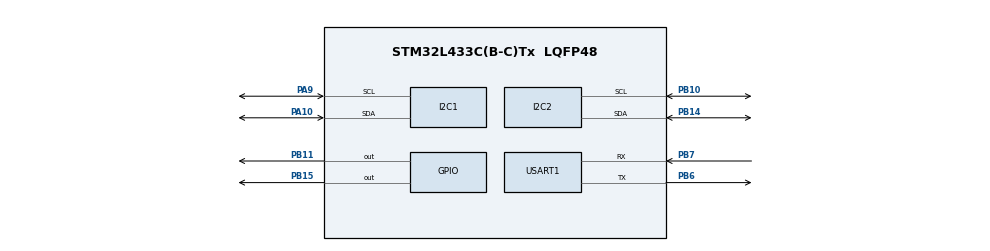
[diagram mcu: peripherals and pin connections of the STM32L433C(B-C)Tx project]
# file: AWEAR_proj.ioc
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Mcu.Family=STM32L4
Mcu.Name=STM32L433C(B-C)Tx
Mcu.Package=LQFP48
NVIC.LPTIM1_IRQn=true\:0\:0\:false\:false\:true\:true\:true\:true
NVIC.PriorityGroup=NVIC_PRIORITYGROUP_4
PA10.Mode=I2C
PA10.Signal=I2C1_SDA
PA9.Mode=I2C
PA9.Signal=I2C1_SCL
PB10.Mode=I2C
PB10.Signal=I2C2_SCL
PB11.GPIO_Speed=GPIO_SPEED_FREQ_LOW
PB11.Signal=GPIO_Output
PB14.Mode=I2C
PB14.Signal=I2C2_SDA
PB15.Signal=GPIO_Output
PB6.Mode=Asynchronous
PB6.Signal=USART1_TX
PB7.Mode=Asynchronous
PB7.Signal=USART1_RX
ProjectManager.HeapSize=0x200
ProjectManager.StackSize=0x400
ProjectManager.TargetToolchain=STM32CubeIDE
RCC.HSE_VALUE=8000000
RCC.HSI48_VALUE=48000000
RCC.HSI_VALUE=16000000
RCC.LPTIM1CLockSelection=RCC_LPTIM1CLKSOURCE_LSI
RCC.LSE_VALUE=32768
RCC.MSI_VALUE=4000000
RCC.VCOOutputFreq_Value=32000000
USART1.Parity=PARITY_ODD
USART1.VirtualMode-Asynchronous=VM_ASYNC
VP_LPTIM1_VS_LPTIM_counterModeInternalClock.Mode=Counts__internal_clock_event_00
board=custom

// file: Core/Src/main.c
/* USER CODE BEGIN Header */
/**
  ******************************************************************************
  * @file           : main.c
  * @brief          : Main program body
  ******************************************************************************
  * @attention
  *
  * Copyright (c) 2023 STMicroelectronics.
  * All rights reserved.
  *
  * This software is licensed under terms that can be found in the LICENSE file
  * in the root directory of this software component.
  * If no LICENSE file comes with this software, it is provided AS-IS.
  *
  ******************************************************************************
  */
/* USER CODE END Header */
#include "main.h"

/* USER CODE BEGIN Includes */
#include <BH1790GLC.h>
#include "lis2de12_reg.h"
//#include <ICM20948.h>
#include <stdio.h>			//not sure if this is necessary?
#include <math.h>

#define PERIOD (uint32_t)1048			//TO DO: CHECK THE TIMER VAL: I think this is 32 Hz?
#define TIMEOUT (uint32_t)0				//goes to compare register?

#define READY 1
#define BUSY 0

/* USER CODE END Includes */

I2C_HandleTypeDef hi2c1;
I2C_HandleTypeDef hi2c2;

LPTIM_HandleTypeDef hlptim1;

UART_HandleTypeDef huart1;

/* USER CODE BEGIN PV */

//imu stuff
#define SENSOR_BUS hi2c2
#define BOOT_TIME 5
#define FIFO_WATERMARK 10
static int16_t data_raw_acceleration[3];
static float acceleration_mg[3];
static uint8_t tx_buffer[1000];
static uint8_t whoamI;
//

BH1790GLC 	hrm;			//define the struct for the ppg sensor
uint8_t 	sensorReady;	//1=ready, 0=busy

/* USER CODE END PV */

void SystemClock_Config(void);
static void MX_GPIO_Init(void);
static void MX_I2C1_Init(void);
static void MX_USART1_UART_Init(void);
static void MX_LPTIM1_Init(void);
static void MX_I2C2_Init(void);
/* USER CODE BEGIN PFP */
#ifdef __GNUC__
#define PUTCHAR_PROTOTYPE int __io_putchar(int ch)
#else
#define PUTCHAR_PROTOTYPE int fputc(int ch, FILE *f)
#endif

//imu private functions
static int32_t platform_write(void *handle, uint8_t reg, const uint8_t *bufp,
                              uint16_t len);
static int32_t platform_read(void *handle, uint8_t reg, uint8_t *bufp,
                             uint16_t len);
//

/* USER CODE END PFP */

int main(void)
{

  /* MCU Configuration--------------------------------------------------------*/

  /* Reset of all peripherals, Initializes the Flash interface and the Systick. */
  HAL_Init();

  /* Configure the system clock */
  SystemClock_Config();

  /* Initialize all configured peripherals */
  MX_GPIO_Init();
  MX_I2C1_Init();
  MX_USART1_UART_Init();
  MX_LPTIM1_Init();
  MX_I2C2_Init();
  /* USER CODE BEGIN 2 */

  /* Set up heart rate sensor */
  uint8_t status;									//see BH1780GLC.h for err codes

  printf("Configuring PPG sensor...");
  HAL_Delay(10);									//wait as a precaution
  status = BH1790GLC_init(&hrm, &hi2c1);			//configure sensor
  if(status != 0){
	  printf("Error configuring sensor. Status code: %d\n\r", status);
	  sensorReady = 0;
  }else{
	  printf("Sensor configured successfully. Status code: %d\n\r", status);
	  sensorReady = 1;
  }

  /* Set up timer */
  if(HAL_LPTIM_TimeOut_Start_IT(&hlptim1, PERIOD, TIMEOUT) != HAL_OK){  //pointer to the handler, period, timeout val to start the timer
	  Error_Handler();
  }

  /* Set up IMU */
  HAL_GPIO_WritePin(ICM_CS_GPIO_Port, ICM_CS_Pin, GPIO_PIN_SET);		//set CS pin high
  HAL_GPIO_WritePin(ICM_SA0_GPIO_Port, ICM_SA0_Pin, GPIO_PIN_RESET);		//set SA0 pin low

  stmdev_ctx_t dev_ctx;
  uint8_t dummy;
  /* Initialize mems driver interface */
  dev_ctx.write_reg = platform_write;
  dev_ctx.read_reg = platform_read;
  dev_ctx.handle = &SENSOR_BUS;
  /* Initialize platform specific hardware */
  	  // none
  /* Wait sensor boot time */
  HAL_Delay(5);
  /* Check device ID */
  lis2de12_device_id_get(&dev_ctx, &whoamI);

  if (whoamI != LIS2DE12_ID) {
    while (1);/* manage here device not found */
  }

  /* Set FIFO watermark to FIFO_WATERMARK */
  lis2de12_fifo_watermark_set(&dev_ctx, FIFO_WATERMARK - 1);
  /* Set FIFO mode to Stream mode (aka Continuous Mode) */
  lis2de12_fifo_mode_set(&dev_ctx, LIS2DE12_DYNAMIC_STREAM_MODE);
  /* Enable FIFO */
  lis2de12_fifo_set(&dev_ctx, PROPERTY_ENABLE);
  /* Enable Block Data Update. */
  lis2de12_block_data_update_set(&dev_ctx, PROPERTY_ENABLE);
  /* Set Output Data Rate to 1Hz. */
  lis2de12_data_rate_set(&dev_ctx, LIS2DE12_ODR_25Hz);
  /* Set full scale to 2g. */
  lis2de12_full_scale_set(&dev_ctx, LIS2DE12_2g);

  /* USER CODE END 2 */

  /* Infinite loop */
  while (1)
  {

    /* USER CODE BEGIN 3 */

	/* Check if FIFO level over threshold */
	lis2de12_fifo_fth_flag_get(&dev_ctx, &dummy);

	if (dummy) {
	  /* Read number of sample in FIFO */
	  lis2de12_fifo_data_level_get(&dev_ctx, &dummy);

	  while ( dummy > 0) {
		/* Read XL samples */
		lis2de12_acceleration_raw_get(&dev_ctx, data_raw_acceleration);
		acceleration_mg[0] =
		  lis2de12_from_fs2_to_mg(data_raw_acceleration[0]);
		acceleration_mg[1] =
		  lis2de12_from_fs2_to_mg(data_raw_acceleration[1]);
		acceleration_mg[2] =
		  lis2de12_from_fs2_to_mg(data_raw_acceleration[2]);
		sprintf((char *)tx_buffer,
				"%d - Acceleration [mg]:%4.2f\t%4.2f\t%4.2f\r\n",
				FIFO_WATERMARK - dummy,
				acceleration_mg[0], acceleration_mg[1], acceleration_mg[2]);
		//tx_com(tx_buffer, strlen((char const *)tx_buffer));
		printf("tx_buffer: %s", tx_buffer);
		dummy--;
	  }
	}

//	if(sensorReady){
//		sensorReady = BUSY;		//flag set back to READY in interrupt every 32 ms
//
//		uint8_t err;
//
//		err = get_val(&hrm);
//		if(err != 0){
//			printf("Could not read sensor. Error code: %d\n\r", err);
//		}else{
//
//			if(add_sample(&hrm)==1){
//				ppg_calculate(&hrm);
//				for(int i = 100; i < 500; i++){
//				//	printf("smooth_array: %d\n", hrm.smooth_array[i]);
//				}
//			}
//		}
//
//	}else{
//		//not ready
//	}

//	// Select User Bank 0
//	ICM_SelectBank(&imu, USER_BANK_0);
//	ICM_ReadAccelGyroData(&imu);
//	HAL_Delay(5);
  }
  /* USER CODE END 3 */
}

void SystemClock_Config(void)
{
  RCC_OscInitTypeDef RCC_OscInitStruct = {0};
  RCC_ClkInitTypeDef RCC_ClkInitStruct = {0};

  /** Configure the main internal regulator output voltage
  */
  if (HAL_PWREx_ControlVoltageScaling(PWR_REGULATOR_VOLTAGE_SCALE1) != HAL_OK)
  {
    Error_Handler();
  }

  /** Initializes the RCC Oscillators according to the specified parameters
  * in the RCC_OscInitTypeDef structure.
  */
  RCC_OscInitStruct.OscillatorType = RCC_OSCILLATORTYPE_LSI|RCC_OSCILLATORTYPE_MSI;
  RCC_OscInitStruct.LSIState = RCC_LSI_ON;
  RCC_OscInitStruct.MSIState = RCC_MSI_ON;
  RCC_OscInitStruct.MSICalibrationValue = 0;
  RCC_OscInitStruct.MSIClockRange = RCC_MSIRANGE_6;
  RCC_OscInitStruct.PLL.PLLState = RCC_PLL_NONE;
  if (HAL_RCC_OscConfig(&RCC_OscInitStruct) != HAL_OK)
  {
    Error_Handler();
  }

  /** Initializes the CPU, AHB and APB buses clocks
  */
  RCC_ClkInitStruct.ClockType = RCC_CLOCKTYPE_HCLK|RCC_CLOCKTYPE_SYSCLK
                              |RCC_CLOCKTYPE_PCLK1|RCC_CLOCKTYPE_PCLK2;
  RCC_ClkInitStruct.SYSCLKSource = RCC_SYSCLKSOURCE_MSI;
  RCC_ClkInitStruct.AHBCLKDivider = RCC_SYSCLK_DIV1;
  RCC_ClkInitStruct.APB1CLKDivider = RCC_HCLK_DIV1;
  RCC_ClkInitStruct.APB2CLKDivider = RCC_HCLK_DIV1;

  if (HAL_RCC_ClockConfig(&RCC_ClkInitStruct, FLASH_LATENCY_0) != HAL_OK)
  {
    Error_Handler();
  }
}

static void MX_I2C1_Init(void)
{

  hi2c1.Instance = I2C1;
  hi2c1.Init.Timing = 0x00000E14;
  hi2c1.Init.OwnAddress1 = 0;
  hi2c1.Init.AddressingMode = I2C_ADDRESSINGMODE_7BIT;
  hi2c1.Init.DualAddressMode = I2C_DUALADDRESS_DISABLE;
  hi2c1.Init.OwnAddress2 = 0;
  hi2c1.Init.OwnAddress2Masks = I2C_OA2_NOMASK;
  hi2c1.Init.GeneralCallMode = I2C_GENERALCALL_DISABLE;
  hi2c1.Init.NoStretchMode = I2C_NOSTRETCH_DISABLE;
  if (HAL_I2C_Init(&hi2c1) != HAL_OK)
  {
    Error_Handler();
  }

  /** Configure Analogue filter
  */
  if (HAL_I2CEx_ConfigAnalogFilter(&hi2c1, I2C_ANALOGFILTER_ENABLE) != HAL_OK)
  {
    Error_Handler();
  }

  /** Configure Digital filter
  */
  if (HAL_I2CEx_ConfigDigitalFilter(&hi2c1, 0) != HAL_OK)
  {
    Error_Handler();
  }

}

static void MX_I2C2_Init(void)
{

  hi2c2.Instance = I2C2;
  hi2c2.Init.Timing = 0x00000E14;
  hi2c2.Init.OwnAddress1 = 0;
  hi2c2.Init.AddressingMode = I2C_ADDRESSINGMODE_7BIT;
  hi2c2.Init.DualAddressMode = I2C_DUALADDRESS_DISABLE;
  hi2c2.Init.OwnAddress2 = 0;
  hi2c2.Init.OwnAddress2Masks = I2C_OA2_NOMASK;
  hi2c2.Init.GeneralCallMode = I2C_GENERALCALL_DISABLE;
  hi2c2.Init.NoStretchMode = I2C_NOSTRETCH_DISABLE;
  if (HAL_I2C_Init(&hi2c2) != HAL_OK)
  {
    Error_Handler();
  }

  /** Configure Analogue filter
  */
  if (HAL_I2CEx_ConfigAnalogFilter(&hi2c2, I2C_ANALOGFILTER_ENABLE) != HAL_OK)
  {
    Error_Handler();
  }

  /** Configure Digital filter
  */
  if (HAL_I2CEx_ConfigDigitalFilter(&hi2c2, 0) != HAL_OK)
  {
    Error_Handler();
  }

}

static void MX_LPTIM1_Init(void)
{

  hlptim1.Instance = LPTIM1;
  hlptim1.Init.Clock.Source = LPTIM_CLOCKSOURCE_APBCLOCK_LPOSC;
  hlptim1.Init.Clock.Prescaler = LPTIM_PRESCALER_DIV1;
  hlptim1.Init.Trigger.Source = LPTIM_TRIGSOURCE_SOFTWARE;
  hlptim1.Init.OutputPolarity = LPTIM_OUTPUTPOLARITY_HIGH;
  hlptim1.Init.UpdateMode = LPTIM_UPDATE_IMMEDIATE;
  hlptim1.Init.CounterSource = LPTIM_COUNTERSOURCE_INTERNAL;
  hlptim1.Init.Input1Source = LPTIM_INPUT1SOURCE_GPIO;
  hlptim1.Init.Input2Source = LPTIM_INPUT2SOURCE_GPIO;
  if (HAL_LPTIM_Init(&hlptim1) != HAL_OK)
  {
    Error_Handler();
  }

}

static void MX_USART1_UART_Init(void)
{

  huart1.Instance = USART1;
  huart1.Init.BaudRate = 115200;
  huart1.Init.WordLength = UART_WORDLENGTH_8B;
  huart1.Init.StopBits = UART_STOPBITS_1;
  huart1.Init.Parity = UART_PARITY_ODD;
  huart1.Init.Mode = UART_MODE_TX_RX;
  huart1.Init.HwFlowCtl = UART_HWCONTROL_NONE;
  huart1.Init.OverSampling = UART_OVERSAMPLING_16;
  huart1.Init.OneBitSampling = UART_ONE_BIT_SAMPLE_DISABLE;
  huart1.AdvancedInit.AdvFeatureInit = UART_ADVFEATURE_NO_INIT;
  if (HAL_UART_Init(&huart1) != HAL_OK)
  {
    Error_Handler();
  }

}

static void MX_GPIO_Init(void)
{
  GPIO_InitTypeDef GPIO_InitStruct = {0};

  /* GPIO Ports Clock Enable */
  __HAL_RCC_GPIOB_CLK_ENABLE();
  __HAL_RCC_GPIOA_CLK_ENABLE();

  /*Configure GPIO pin Output Level */
  HAL_GPIO_WritePin(GPIOB, GPIO_PIN_11|GPIO_PIN_15, GPIO_PIN_RESET);

  /*Configure GPIO pins : PB11 PB15 */
  GPIO_InitStruct.Pin = GPIO_PIN_11|GPIO_PIN_15;
  GPIO_InitStruct.Mode = GPIO_MODE_OUTPUT_PP;
  GPIO_InitStruct.Pull = GPIO_NOPULL;
  GPIO_InitStruct.Speed = GPIO_SPEED_FREQ_LOW;
  HAL_GPIO_Init(GPIOB, &GPIO_InitStruct);

}

/* USER CODE BEGIN 4 */

/*
 * @brief  Write device register for IMU
 *
 * @param  handle    customizable argument. In this examples is used in
 *                   order to select the correct sensor bus handler.
 * @param  reg       register to write
 * @param  bufp      pointer to data to write in register reg
 * @param  len       number of consecutive register to write
 *
 */
static int32_t platform_write(void *handle, uint8_t reg, const uint8_t *bufp,
                              uint16_t len)
{
	/* Write multiple command */
//	reg = reg & 0x7F;
//	HAL_GPIO_WritePin(ICM_CS_GPIO_Port, ICM_CS_Pin, GPIO_PIN_RESET);	//set CS pin low
//	HAL_SPI_Transmit(handle, &reg, 1, 1000);
//	HAL_SPI_Transmit(handle, (uint8_t*) bufp, len, 1000);
//	HAL_GPIO_WritePin(ICM_CS_GPIO_Port, ICM_CS_Pin, GPIO_PIN_SET);		//set CS pin high

  HAL_I2C_Mem_Write(handle, (LIS2DE12_I2C_ADD_L<<1), reg,
					I2C_MEMADD_SIZE_8BIT, (uint8_t*) bufp, len, 1000);

#if defined(NUCLEO_F411RE)
  /* Write multiple command */
  reg |= 0x80;
  HAL_I2C_Mem_Write(handle, LIS2DE12_I2C_ADD_L, reg,
                    I2C_MEMADD_SIZE_8BIT, (uint8_t*) bufp, len, 1000);
#elif defined(STEVAL_MKI109V3)
  /* Write multiple command */
  reg |= 0x40;
  HAL_GPIO_WritePin(CS_up_GPIO_Port, CS_up_Pin, GPIO_PIN_RESET);
  HAL_SPI_Transmit(handle, &reg, 1, 1000);
  HAL_SPI_Transmit(handle, (uint8_t*) bufp, len, 1000);
  HAL_GPIO_WritePin(CS_up_GPIO_Port, CS_up_Pin, GPIO_PIN_SET);
#elif defined(SPC584B_DIS)
  /* Write multiple command */
  reg |= 0x80;
  i2c_lld_write(handle,  LIS2DE12_I2C_ADD_L & 0xFE, reg, (uint8_t*) bufp, len);
#endif
  return 0;
}

/*
 * @brief  Read device register for IMU
 *
 * @param  handle    customizable argument. In this examples is used in
 *                   order to select the correct sensor bus handler.
 * @param  reg       register to read
 * @param  bufp      pointer to buffer that store the data read
 * @param  len       number of consecutive register to read
 *
 */
static int32_t platform_read(void *handle, uint8_t reg, uint8_t *bufp,
                             uint16_t len)
{
	  /* Read multiple command */
//	reg = reg | 0x80;
//	HAL_GPIO_WritePin(ICM_CS_GPIO_Port, ICM_CS_Pin, GPIO_PIN_RESET);	//set CS pin low
//	HAL_SPI_Transmit(handle, &reg, 1, 1000);
//	HAL_SPI_Receive(handle, bufp, len, 1000);
//	HAL_GPIO_WritePin(ICM_CS_GPIO_Port, ICM_CS_Pin, GPIO_PIN_SET);		//set CS pin high

	HAL_StatusTypeDef ret;

	//reg |= 0x80;
	ret = HAL_I2C_Mem_Read(handle, (LIS2DE12_I2C_ADD_L<<1), reg,
				   I2C_MEMADD_SIZE_8BIT, bufp, len, 1000);

	printf("complete");

#if defined(NUCLEO_F411RE)
  /* Read multiple command */
  reg |= 0x80;
  HAL_I2C_Mem_Read(handle, LIS2DE12_I2C_ADD_L, reg,
                   I2C_MEMADD_SIZE_8BIT, bufp, len, 1000);
#elif defined(STEVAL_MKI109V3)
  /* Read multiple command */
  reg |= 0xC0;
  HAL_GPIO_WritePin(CS_up_GPIO_Port, CS_up_Pin, GPIO_PIN_RESET);
  HAL_SPI_Transmit(handle, &reg, 1, 1000);
  HAL_SPI_Receive(handle, bufp, len, 1000);
  HAL_GPIO_WritePin(CS_up_GPIO_Port, CS_up_Pin, GPIO_PIN_SET);
#elif defined(SPC584B_DIS)
  /* Read multiple command */
  reg |= 0x80;
  i2c_lld_read(handle, LIS2DE12_I2C_ADD_L & 0xFE, reg, bufp, len);
#endif
  return 0;
}

/*
 * Redefinition of the low power timer interrupt
 */
void HAL_LPTIM_CompareMatchCallback(LPTIM_HandleTypeDef *hlptim){
	sensorReady = READY;
	//printf("inside interrupt: sensorReady");
}

/* USER CODE BEGIN 4 */
/**
  * @brief  Retargets the C library printf function to the USART.
  * @param  None
  * @retval None
  */
PUTCHAR_PROTOTYPE
{
  /* Place your implementation of fputc here */
  /* e.g. write a character to the USART1 and Loop until the end of transmission */
  HAL_UART_Transmit(&huart1, (uint8_t *)&ch, 1, HAL_MAX_DELAY);

  return ch;
}

/* USER CODE END 4 */

void Error_Handler(void)
{
  __disable_irq();
  while (1)
  {
  }
}
